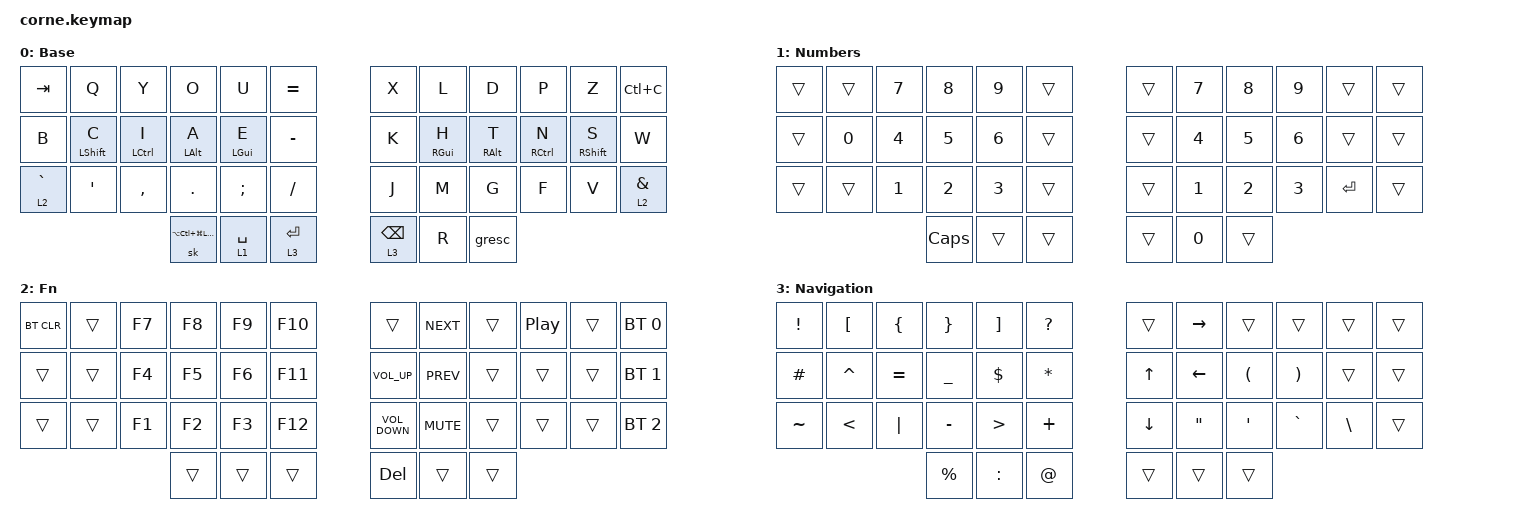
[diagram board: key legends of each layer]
/*
 * Copyright (c) 2020 The ZMK Contributors
 *
 * SPDX-License-Identifier: MIT
 */

#include <behaviors.dtsi>
#include <dt-bindings/zmk/bt.h>
#include <dt-bindings/zmk/keys.h>

/ {
    behaviors {
        hrl: hrl {
            compatible = "zmk,behavior-hold-tap";
            label = "HRL";
            bindings = <&kp>, <&kp>;

            #binding-cells = <2>;
            tapping-term-ms = <220>;
            quick-tap-ms = <175>;
            require-prior-idle-ms = <150>;
            flavor = "balanced";
            hold-trigger-on-release;
            hold-trigger-key-positions = <39 30 18 6 7 19 31 32 20 8 9 21 33 34 22 10 11 23 35 36 38 40 41>;
        };

        hrr: hrr {
            compatible = "zmk,behavior-hold-tap";
            label = "HRR";
            bindings = <&kp>, <&kp>;

            #binding-cells = <2>;
            tapping-term-ms = <230>;
            quick-tap-ms = <175>;
            require-prior-idle-ms = <150>;
            flavor = "balanced";
            hold-trigger-on-release;
            hold-trigger-key-positions = <0 1 2 3 4 5 17 16 15 14 13 12 24 25 26 27 28 29 38 37 36>;
        };

        shiftsk: shiftsk {
            compatible = "zmk,behavior-sticky-key";
            label = "SHIFTSK";
            bindings = <&kp>;
            #binding-cells = <1>;
            quick-release;
            release-after-ms = <2000>;
            ignore-modifiers;
        };

        hrm_sk: hrm_sk {
            compatible = "zmk,behavior-sticky-key";
            label = "HRM_SK";
            bindings = <&kp>;
            #binding-cells = <1>;
            release-after-ms = <5000>;
            quick-release;
            ignore-modifiers;
        };

        magicshift: magicshift {
            compatible = "zmk,behavior-mod-morph";
            label = "MAGICSHIFT";
            bindings = <&shiftsk LEFT_SHIFT>, <&caps_word>;

            #binding-cells = <0>;
            mods = <(MOD_LCTL|MOD_LSFT|MOD_LALT|MOD_LGUI)>;
        };
    };

    combos {
        compatible = "zmk,combos";

        LeftBracket {
            bindings = <&kp LEFT_BRACKET>;
            key-positions = <31 32>;
        };

        RightBracket {
            bindings = <&kp RIGHT_BRACKET>;
            key-positions = <32 33>;
        };

        LeftParen {
            bindings = <&kp LEFT_PARENTHESIS>;
            key-positions = <19 20>;
        };

        RightParen {
            bindings = <&kp RIGHT_PARENTHESIS>;
            key-positions = <20 21>;
        };

        Copy {
            bindings = <&kp LG(C)>;
            key-positions = <26 27>;
        };

        Paste {
            bindings = <&kp LG(V)>;
            key-positions = <27 28>;
        };

        Cut {
            bindings = <&kp LG(X)>;
            key-positions = <26 28>;
        };

        Hash {
            bindings = <&kp HASH>;
            key-positions = <3 15>;
        };

        Percent {
            bindings = <&kp PERCENT>;
            key-positions = <5 17>;
        };

        Dollar {
            bindings = <&kp DOLLAR>;
            key-positions = <4 16>;
        };
    };

    keymap {
        compatible = "zmk,keymap";

        default_layer {
            // -----------------------------------------------------------------------------------------
            // |  TAB |  Q  |  W  |  E  |  R  |  T  |   |  Y  |  U   |  I  |  O  |  P  | BKSP |
            // | CTRL |  A  |  S  |  D  |  F  |  G  |   |  H  |  J   |  K  |  L  |  ;  |  '   |
            // | SHFT |  Z  |  X  |  C  |  V  |  B  |   |  N  |  M   |  ,  |  .  |  /  | ESC  |
            //                    | GUI | LWR | SPC |   | ENT | RSE  | ALT |

            display-name = "Base";
            bindings = <
&kp TAB      &kp Q          &kp Y         &kp O                       &kp U            &kp EQUAL      &kp X            &kp L             &kp D             &kp P         &kp Z               &kp LC(C)
&kp B        &hrl LSHIFT C  &hrl LCTRL I  &hrl LEFT_ALT A             &hrl LEFT_GUI E  &kp MINUS      &kp K            &hrr RIGHT_GUI H  &hrr RIGHT_ALT T  &hrr RCTRL N  &hrr RIGHT_SHIFT S  &kp W
&lt 2 GRAVE  &kp APOS       &kp COMMA     &kp DOT                     &kp SEMI         &kp FSLH       &kp J            &kp M             &kp G             &kp F         &kp V               &lt 2 AMPERSAND
                                          &sk LA(LC(LG(LEFT_SHIFT)))  &lt 1 SPACE      &lt 3 ENTER    &lt 3 BACKSPACE  &kp R             &gresc
            >;
        };

        Numbers {
            bindings = <
&trans  &trans  &kp N7  &kp N8    &kp N9  &trans    &trans  &kp N7  &kp N8  &kp N9  &trans     &trans
&trans  &kp N0  &kp N4  &kp N5    &kp N6  &trans    &trans  &kp N4  &kp N5  &kp N6  &trans     &trans
&trans  &trans  &kp N1  &kp N2    &kp N3  &trans    &trans  &kp N1  &kp N2  &kp N3  &kp ENTER  &trans
                        &kp CAPS  &trans  &trans    &trans  &kp N0  &trans
            >;
        };

        Fn {
            bindings = <
&bt BT_CLR  &trans  &kp F7  &kp F8  &kp F9  &kp F10    &trans             &kp C_NEXT  &trans  &kp C_PP  &trans  &bt BT_SEL 0
&trans      &trans  &kp F4  &kp F5  &kp F6  &kp F11    &kp C_VOLUME_UP    &kp C_PREV  &trans  &trans    &trans  &bt BT_SEL 1
&trans      &trans  &kp F1  &kp F2  &kp F3  &kp F12    &kp C_VOLUME_DOWN  &kp K_MUTE  &trans  &trans    &trans  &bt BT_SEL 2
                            &trans  &trans  &trans     &kp DELETE         &trans      &trans
            >;
        };

        Navigation {
            bindings = <
&kp EXCL   &kp LEFT_BRACKET  &kp LBRC   &kp RBRC        &kp RIGHT_BRACKET  &kp QMARK       &trans          &kp RIGHT_ARROW    &trans                &trans                 &trans         &trans
&kp HASH   &kp CARET         &kp EQUAL  &kp UNDERSCORE  &kp DOLLAR         &kp ASTERISK    &kp UP_ARROW    &kp LEFT_ARROW     &kp LEFT_PARENTHESIS  &kp RIGHT_PARENTHESIS  &trans         &trans
&kp TILDE  &kp LESS_THAN     &kp PIPE   &kp MINUS       &kp GREATER_THAN   &kp PLUS        &kp DOWN_ARROW  &kp DOUBLE_QUOTES  &kp SQT               &kp GRAVE              &kp BACKSLASH  &trans
                                        &kp PERCENT     &kp COLON          &kp AT_SIGN     &trans          &trans             &trans
            >;
        };
    };
};
